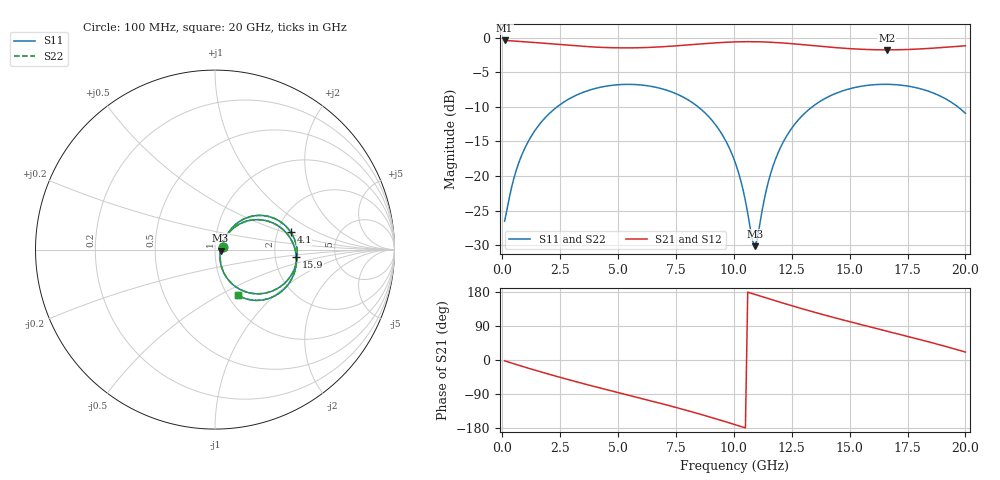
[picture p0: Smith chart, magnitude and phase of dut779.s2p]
! Touchstone file exported from HFSS 2026.1.0
!  File:  C:/ffzhzh/LocalFiles/Ansys_Project_Files/temp_train_TSV_RDL_779_1783210362_51560.aedt
!  Generated:  08:27:01 AM Jul  5, 2026
!  Design:  TSV_RDL
!  Project:  temp_train_TSV_RDL_779_1783210362_51560
! Variables:
!  h_bsmrdl = 2.18um
!  h_ox = 20um
!  h_rdl = 5um
!  h_sub = 51.17um
!  h_tmrdl = 2.07um
!  h_tsv = 51.17um
!  h_via = 3um
!  l_bsmrdl = 747.64um
!  l_sub = 6026.79um
!  l_tmrdl = 813.86um
!  m_sub = 200um
!  pitch = 38.65um
!  r_tsv = 7.87um
!  s_tmrdl = 10um
!  w_bsmrdl = 15.31um
!  w_sub = 500um
!  w_tmrdl = 27.5um
!  x_tsv_center1 = 827.61um
!  x_tsv_center2 = 1590.56um
!  x_tsv_center3 = 2431.92um
!  x_tsv_center4 = 3194.87um
!  x_tsv_center5 = 4036.23um
!  x_tsv_center6 = 4799.18um
# GHz S MA R 50.000000
! Terminal data exported
! Port[1] = TM_RDL1_1_T1
! Port[2] = TM_RDL5_1_T1
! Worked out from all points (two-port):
!   200 points, 100 MHz to 20 GHz, reference 50 ohm
!   highest |S21| = -0.39 dB at 100 MHz (marker M1); lowest = -1.8 dB at 16.6 GHz (marker M2)
!   |S21| within 3 dB of the highest: start of sweep to end of sweep
!   lowest |S11| = -30.2 dB at 10.9 GHz (marker M3), VSWR 1.06, Z = 53.2 - j0.538 ohm
!   |S11| at or under -10 dB: start of sweep to 2.365 GHz; 8.459 GHz to 13.38 GHz (4.924 GHz wide, 45.1 % of centre); 19.67 GHz to end of sweep
!   |S22| runs from -30.0 to -6.7 dB; largest |S21 - S12| = 1.6e-14
!   S11 on the Smith chart (normalised r, x): 100 MHz: 1.09, +0.04; 4.1 GHz: 2.37, +0.56; 15.9 GHz: 2.64, -0.28; 20 GHz: 1.11, -0.62
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0.1  0.04712 20.1  0.9562 -2.1  0.9562 -2.1  0.04712 20.1
! Gamma 0 0 0 0
! Port Impedance 50 0 50 0
0.6  0.1096 50.8  0.945 -11.9  0.945 -11.9  0.1096 50.8
1.3  0.1999 49.5  0.9266 -24.8  0.9266 -24.8  0.1999 49.5
2.3  0.3101 37.9  0.8982 -42.5  0.8982 -42.5  0.31 37.9
3.5  0.4036 21.3  0.8665 -62.4  0.8665 -62.4  0.4036 21.3
4.1  0.4334 12.9  0.8549 -71.9  0.8549 -71.9  0.4334 12.9
5.4  0.4601 -5.4  0.8447 -92.1  0.8447 -92.1  0.4601 -5.4
6.8  0.4316 -25.5  0.8587 -113.9  0.8587 -113.9  0.4316 -25.4
8.8  0.2813 -55.3  0.9086 -147.5  0.9086 -147.5  0.2813 -55.2
9.5  0.1988 -64.9  0.9249 -160.3  0.9249 -160.3  0.1989 -64.8
10.1  0.1196 -69.7  0.934 -171.5  0.934 -171.5  0.1196 -69.4
10.9  0.03106 -9.4  0.9362 173.3  0.9362 173.3  0.03155 -9.2
11.5  0.09214 49.9  0.9297 161.8  0.9297 161.8  0.09236 49.7
11.9  0.1456 50.1  0.9219 154.3  0.9219 154.3  0.1458 49.9
12.6  0.2334 42.4  0.9033 141.5  0.9033 141.5  0.2335 42.3
13.4  0.3179 31.0  0.8782 127.4  0.8782 127.4  0.318 30.9
14.6  0.4076 13.3  0.8434 107.5  0.8434 107.5  0.4077 13.3
15.9  0.4551 -5.3  0.8208 87.2  0.8208 87.2  0.4552 -5.3
16.6  0.4606 -15.2  0.8175 76.4  0.8175 76.4  0.4607 -15.1
16.7  0.4603 -16.6  0.8176 74.9  0.8176 74.9  0.4604 -16.6
18.4  0.4108 -40.7  0.8369 48.2  0.8369 48.2  0.4109 -40.7
20  0.2842 -63.3  0.8751 20.9  0.8751 20.9  0.2842 -63.3
